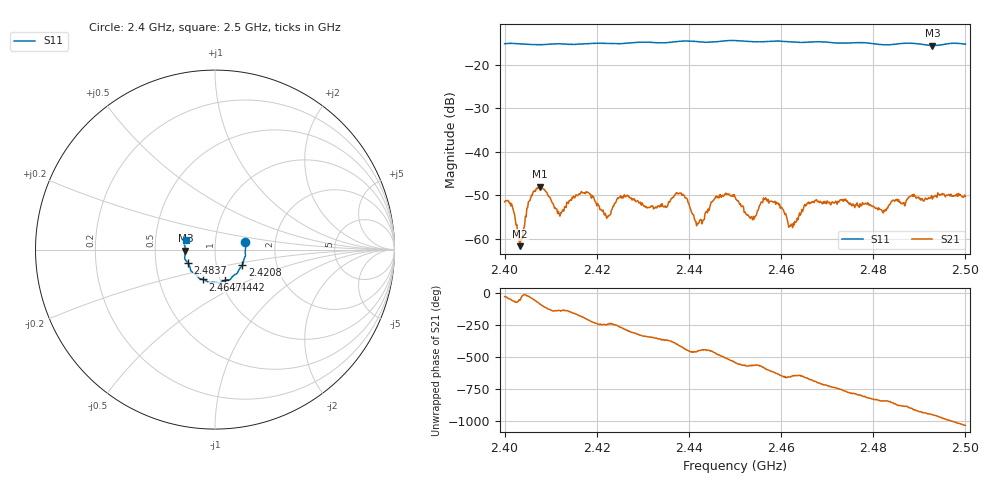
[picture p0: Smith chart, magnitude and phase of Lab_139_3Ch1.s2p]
# Hz S RI R 50
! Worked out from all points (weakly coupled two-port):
!   601 points, 2.4 GHz to 2.5 GHz, reference 50 ohm
!   highest |S21| = -48.05 dB at 2.4077 GHz (marker M1); lowest = -61.7 dB at 2.4033 GHz (marker M2)
!   lowest |S11| = -15.6 dB at 2.4928 GHz (marker M3), VSWR 1.40, Z = 35.8 - j0.39 ohm
!   |S11| at or under -10 dB: start of sweep to end of sweep
!   S12 and S22 are empty: the file has one direction only
!   S11 on the Smith chart (normalised r, x): 2.4 GHz: 1.40, +0.12; 2.4208 GHz: 1.33, -0.24; 2.4442 GHz: 1.05, -0.37; 2.4647 GHz: 0.83, -0.29; 2.4837 GHz: 0.73, -0.11; 2.5 GHz: 0.72, +0.08
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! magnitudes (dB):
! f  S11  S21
! 2.4 GHz  -15.2  -51.5
! 2.4017 GHz  -15.1  -52.5
! 2.4033 GHz  -15.2  -61.7
! 2.4057 GHz  -15.4  -50.6
! 2.4077 GHz  -15.4  -48.0
! 2.412 GHz  -15.2  -54.8
! 2.4167 GHz  -15.3  -49.1
! 2.4208 GHz  -15.1  -53.2
! 2.4333 GHz  -15.0  -52.4
! 2.4378 GHz  -14.7  -49.5
! 2.4417 GHz  -14.7  -57.0
! 2.4442 GHz  -14.9  -53.2
! 2.45 GHz  -14.5  -50.4
! 2.4537 GHz  -14.8  -55.1
! 2.4592 GHz  -14.6  -51.8
! 2.462 GHz  -14.8  -57.1
! 2.4647 GHz  -14.9  -53.7
! 2.4667 GHz  -14.8  -51.5
! 2.4833 GHz  -15.5  -52.3
! 2.4837 GHz  -15.4  -52.0
! 2.4928 GHz  -15.6  -50.9
! 2.5 GHz  -15.3  -50.2
